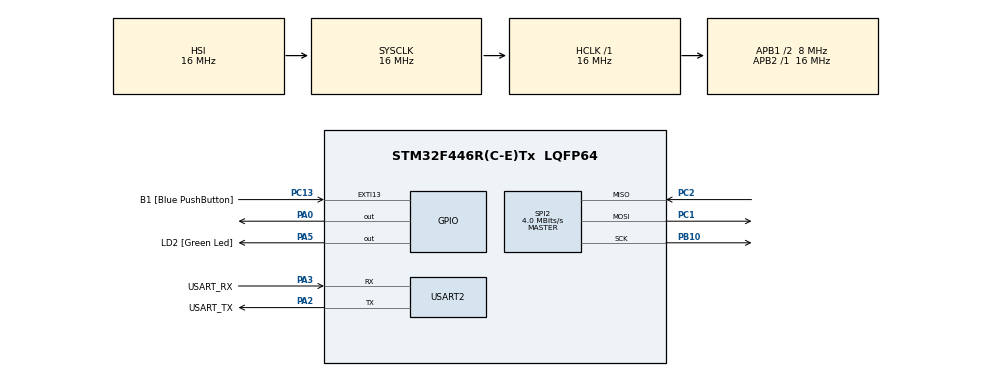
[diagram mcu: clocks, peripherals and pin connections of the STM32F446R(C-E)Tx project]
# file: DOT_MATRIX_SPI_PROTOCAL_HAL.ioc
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Mcu.Family=STM32F4
Mcu.Name=STM32F446R(C-E)Tx
Mcu.Package=LQFP64
NVIC.PriorityGroup=NVIC_PRIORITYGROUP_0
PA0-WKUP.PinState=GPIO_PIN_RESET
PA0-WKUP.Signal=GPIO_Output
PA13.GPIO_Label=TMS
PA13.Mode=Serial_Wire
PA13.Signal=SYS_JTMS-SWDIO
PA14.GPIO_Label=TCK
PA14.Mode=Serial_Wire
PA14.Signal=SYS_JTCK-SWCLK
PA2.GPIO_Label=USART_TX
PA2.Mode=Asynchronous
PA2.Signal=USART2_TX
PA3.GPIO_Label=USART_RX
PA3.Mode=Asynchronous
PA3.Signal=USART2_RX
PA5.GPIO_Label=LD2 [Green Led]
PA5.Signal=GPIO_Output
PB10.Mode=Full_Duplex_Master
PB10.Signal=SPI2_SCK
PB3.GPIO_Label=SWO
PB3.Signal=SYS_JTDO-SWO
PC1.Mode=Full_Duplex_Master
PC1.Signal=SPI2_MOSI
PC13.GPIO_Label=B1 [Blue PushButton]
PC13.GPIO_ModeDefaultEXTI=GPIO_MODE_IT_FALLING
PC13.Signal=GPXTI13
PC14-OSC32_IN.Mode=LSE-External-Oscillator
PC14-OSC32_IN.Signal=RCC_OSC32_IN
PC15-OSC32_OUT.Mode=LSE-External-Oscillator
PC15-OSC32_OUT.Signal=RCC_OSC32_OUT
PC2.Mode=Full_Duplex_Master
PC2.Signal=SPI2_MISO
PH0-OSC_IN.Mode=HSE-External-Oscillator
PH0-OSC_IN.Signal=RCC_OSC_IN
PH1-OSC_OUT.Mode=HSE-External-Oscillator
PH1-OSC_OUT.Signal=RCC_OSC_OUT
ProjectManager.HeapSize=0x200
ProjectManager.StackSize=0x400
ProjectManager.TargetToolchain=STM32CubeIDE
RCC.48MHZClocksFreq_Value=84000000
RCC.AHBFreq_Value=16000000
RCC.APB1CLKDivider=RCC_HCLK_DIV2
RCC.APB1Freq_Value=8000000
RCC.APB1TimFreq_Value=16000000
RCC.APB2Freq_Value=16000000
RCC.APB2TimFreq_Value=16000000
RCC.CortexFreq_Value=16000000
RCC.FLatency-AdvancedSettings=FLASH_LATENCY_0
RCC.HCLKFreq_Value=16000000
RCC.HSE_VALUE=8000000
RCC.HSI_VALUE=16000000
RCC.PLLN=336
RCC.PLLP=RCC_PLLP_DIV4
RCC.SYSCLKFreq_VALUE=16000000
RCC.USBFreq_Value=168000000
RCC.VCOOutputFreq_Value=336000000
SPI2.CalculateBaudRate=4.0 MBits/s
SPI2.DataSize=SPI_DATASIZE_8BIT
SPI2.Direction=SPI_DIRECTION_2LINES
SPI2.Mode=SPI_MODE_MASTER
SPI2.VirtualType=VM_MASTER
USART2.VirtualMode=VM_ASYNC
board=NUCLEO-F446RE

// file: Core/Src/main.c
/* USER CODE BEGIN Header */
/**
  ******************************************************************************
  * @file           : main.c
  * @brief          : Main program body
  ******************************************************************************
  * @attention
  *
  * Copyright (c) 2026 STMicroelectronics.
  * All rights reserved.
  *
  * This software is licensed under terms that can be found in the LICENSE file
  * in the root directory of this software component.
  * If no LICENSE file comes with this software, it is provided AS-IS.
  *
  ******************************************************************************
  */
/* USER CODE END Header */
#include "main.h"

SPI_HandleTypeDef hspi2;

UART_HandleTypeDef huart2;

void SystemClock_Config(void);
static void MX_GPIO_Init(void);
static void MX_USART2_UART_Init(void);
static void MX_SPI2_Init(void);

/* USER CODE BEGIN 0 */
/* Global Buffer: 8 bytes for 4 cascaded modules */

uint8_t Tx_Buffer[2];

void write_to_max7219(uint8_t reg_addr, uint8_t dt)
{
    HAL_GPIO_WritePin(GPIOA, GPIO_PIN_0, GPIO_PIN_RESET);

    Tx_Buffer[0] = reg_addr;
    Tx_Buffer[1] = dt;

    HAL_SPI_Transmit(&hspi2, Tx_Buffer, 2, HAL_MAX_DELAY);

    HAL_GPIO_WritePin(GPIOA, GPIO_PIN_0, GPIO_PIN_SET);
}
/* USER CODE END 0 */

int main(void)
{

  /* MCU Configuration--------------------------------------------------------*/

  /* Reset of all peripherals, Initializes the Flash interface and the Systick. */
  HAL_Init();

  /* Configure the system clock */
  SystemClock_Config();

  /* Initialize all configured peripherals */
  MX_GPIO_Init();
  MX_USART2_UART_Init();
  MX_SPI2_Init();
  /* USER CODE BEGIN 2 */
  /* USER CODE BEGIN 2 */
//  write_to_MAX7219_4(0x0F, 0x00);
  write_to_max7219(0x0F, 0x00);   // Display Test OFF
  write_to_max7219(0x0C, 0x01);   // Normal Operation
  write_to_max7219(0x09, 0x00);   // No Decode Mode
  write_to_max7219(0x0A, 0x01);   // Intensity
  write_to_max7219(0x0B, 0x07);
  /* USER CODE END 2 */
  /* USER CODE END 2 */

  /* Infinite loop */
  while (1)
  {

    /* USER CODE BEGIN 3 */
	  write_to_max7219(0x01, 0x18);
	  write_to_max7219(0x02, 0x38);
	  write_to_max7219(0x03, 0x18);
	  write_to_max7219(0x04, 0x18);
	  write_to_max7219(0x05, 0x18);
	  write_to_max7219(0x06, 0x18);
	  write_to_max7219(0x07, 0x3C);
	  write_to_max7219(0x08, 0x00);

  }
  /* USER CODE END 3 */
}

void SystemClock_Config(void)
{
  RCC_OscInitTypeDef RCC_OscInitStruct = {0};
  RCC_ClkInitTypeDef RCC_ClkInitStruct = {0};

  /** Configure the main internal regulator output voltage
  */
  __HAL_RCC_PWR_CLK_ENABLE();
  __HAL_PWR_VOLTAGESCALING_CONFIG(PWR_REGULATOR_VOLTAGE_SCALE3);

  /** Initializes the RCC Oscillators according to the specified parameters
  * in the RCC_OscInitTypeDef structure.
  */
  RCC_OscInitStruct.OscillatorType = RCC_OSCILLATORTYPE_HSI;
  RCC_OscInitStruct.HSIState = RCC_HSI_ON;
  RCC_OscInitStruct.HSICalibrationValue = RCC_HSICALIBRATION_DEFAULT;
  RCC_OscInitStruct.PLL.PLLState = RCC_PLL_NONE;
  if (HAL_RCC_OscConfig(&RCC_OscInitStruct) != HAL_OK)
  {
    Error_Handler();
  }

  /** Initializes the CPU, AHB and APB buses clocks
  */
  RCC_ClkInitStruct.ClockType = RCC_CLOCKTYPE_HCLK|RCC_CLOCKTYPE_SYSCLK
                              |RCC_CLOCKTYPE_PCLK1|RCC_CLOCKTYPE_PCLK2;
  RCC_ClkInitStruct.SYSCLKSource = RCC_SYSCLKSOURCE_HSI;
  RCC_ClkInitStruct.AHBCLKDivider = RCC_SYSCLK_DIV1;
  RCC_ClkInitStruct.APB1CLKDivider = RCC_HCLK_DIV2;
  RCC_ClkInitStruct.APB2CLKDivider = RCC_HCLK_DIV1;

  if (HAL_RCC_ClockConfig(&RCC_ClkInitStruct, FLASH_LATENCY_0) != HAL_OK)
  {
    Error_Handler();
  }
}

static void MX_SPI2_Init(void)
{

  /* SPI2 parameter configuration*/
  hspi2.Instance = SPI2;
  hspi2.Init.Mode = SPI_MODE_MASTER;
  hspi2.Init.Direction = SPI_DIRECTION_2LINES;
  hspi2.Init.DataSize = SPI_DATASIZE_8BIT;
  hspi2.Init.CLKPolarity = SPI_POLARITY_LOW;
  hspi2.Init.CLKPhase = SPI_PHASE_1EDGE;
  hspi2.Init.NSS = SPI_NSS_SOFT;
  hspi2.Init.BaudRatePrescaler = SPI_BAUDRATEPRESCALER_2;
  hspi2.Init.FirstBit = SPI_FIRSTBIT_MSB;
  hspi2.Init.TIMode = SPI_TIMODE_DISABLE;
  hspi2.Init.CRCCalculation = SPI_CRCCALCULATION_DISABLE;
  hspi2.Init.CRCPolynomial = 10;
  if (HAL_SPI_Init(&hspi2) != HAL_OK)
  {
    Error_Handler();
  }

}

static void MX_USART2_UART_Init(void)
{

  huart2.Instance = USART2;
  huart2.Init.BaudRate = 115200;
  huart2.Init.WordLength = UART_WORDLENGTH_8B;
  huart2.Init.StopBits = UART_STOPBITS_1;
  huart2.Init.Parity = UART_PARITY_NONE;
  huart2.Init.Mode = UART_MODE_TX_RX;
  huart2.Init.HwFlowCtl = UART_HWCONTROL_NONE;
  huart2.Init.OverSampling = UART_OVERSAMPLING_16;
  if (HAL_UART_Init(&huart2) != HAL_OK)
  {
    Error_Handler();
  }

}

static void MX_GPIO_Init(void)
{
  GPIO_InitTypeDef GPIO_InitStruct = {0};

  /* GPIO Ports Clock Enable */
  __HAL_RCC_GPIOC_CLK_ENABLE();
  __HAL_RCC_GPIOH_CLK_ENABLE();
  __HAL_RCC_GPIOA_CLK_ENABLE();
  __HAL_RCC_GPIOB_CLK_ENABLE();

  /*Configure GPIO pin Output Level */
  HAL_GPIO_WritePin(GPIOA, GPIO_PIN_0|LD2_Pin, GPIO_PIN_RESET);

  /*Configure GPIO pin : B1_Pin */
  GPIO_InitStruct.Pin = B1_Pin;
  GPIO_InitStruct.Mode = GPIO_MODE_IT_FALLING;
  GPIO_InitStruct.Pull = GPIO_NOPULL;
  HAL_GPIO_Init(B1_GPIO_Port, &GPIO_InitStruct);

  /*Configure GPIO pins : PA0 LD2_Pin */
  GPIO_InitStruct.Pin = GPIO_PIN_0|LD2_Pin;
  GPIO_InitStruct.Mode = GPIO_MODE_OUTPUT_PP;
  GPIO_InitStruct.Pull = GPIO_NOPULL;
  GPIO_InitStruct.Speed = GPIO_SPEED_FREQ_LOW;
  HAL_GPIO_Init(GPIOA, &GPIO_InitStruct);

}

void Error_Handler(void)
{
  __disable_irq();
  while (1)
  {
  }
}
